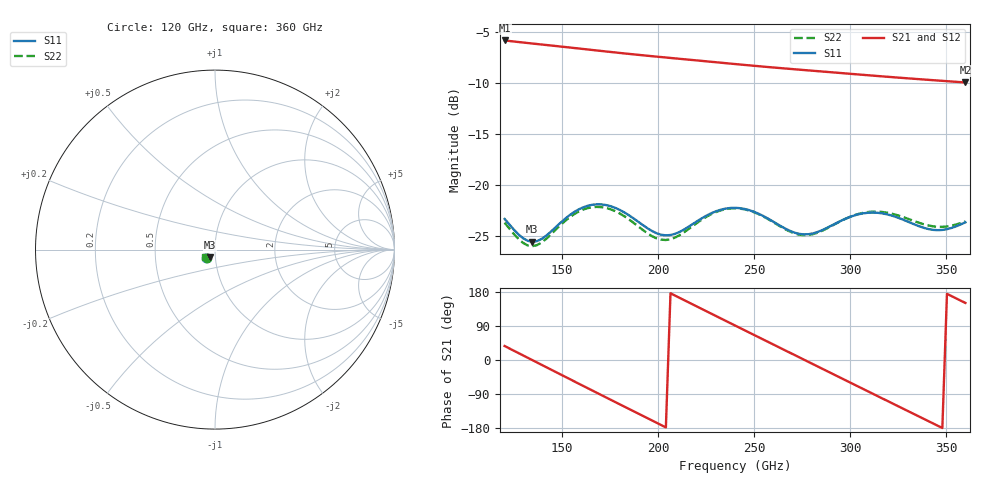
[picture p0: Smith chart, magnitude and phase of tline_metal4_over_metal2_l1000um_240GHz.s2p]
#  GHZ S DB R 50
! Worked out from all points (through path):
!   101 points, 120 GHz to 360 GHz, reference 50 ohm
!   highest |S21| = -5.86 dB at 120 GHz (marker M1); lowest = -10.0 dB at 360 GHz (marker M2)
!   group delay of S21, straight-line fit = 7.01 ps
!   lowest |S11| = -25.5 dB at 134.4 GHz (marker M3), VSWR 1.11, Z = 46.9 - j4.07 ohm
!   |S11| at or under -10 dB: start of sweep to end of sweep
!   |S22| runs from -26.0 to -22.1 dB; largest |S21 - S12| = 5.9e-14
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120  -23.29 -135.8  -5.86 36.9  -5.86 36.9  -23.66 -135.6
134.4  -25.53 -125.1  -6.15 -0.2  -6.15 -0.2  -25.95 -123.3
146.4  -24.14 -114.8  -6.39 -31.1  -6.39 -31.1  -24.39 -113.0
160.8  -22.17 -122.1  -6.69 -68.0  -6.69 -68.0  -22.39 -121.1
170.4  -21.87 -131.4  -6.88 -92.5  -6.88 -92.5  -22.14 -130.8
180  -22.41 -139.8  -7.08 -117.0  -7.08 -117.0  -22.76 -139.4
192  -23.89 -143.7  -7.31 -147.5  -7.31 -147.5  -24.37 -142.7
201.6  -24.84 -138.8  -7.48 -171.8  -7.48 -171.8  -25.32 -136.6
211.2  -24.56 -131.4  -7.65 163.9  -7.65 163.9  -24.87 -128.5
223.2  -23.18 -130.2  -7.86 133.5  -7.86 133.5  -23.30 -127.7
240  -22.21 -140.6  -8.16 91.1  -8.16 91.1  -22.25 -139.2
249.6  -22.57 -147.3  -8.33 66.9  -8.33 66.9  -22.61 -146.3
261.6  -23.75 -150.9  -8.52 36.8  -8.52 36.8  -23.80 -150.3
271.2  -24.64 -147.6  -8.67 12.7  -8.67 12.7  -24.72 -147.1
280.8  -24.70 -141.0  -8.82 -11.4  -8.82 -11.4  -24.77 -140.4
290.4  -23.93 -137.4  -8.97 -35.5  -8.97 -35.5  -23.97 -136.8
302.4  -22.94 -139.9  -9.15 -65.6  -9.15 -65.6  -22.91 -139.4
312  -22.67 -144.8  -9.30 -89.6  -9.30 -89.6  -22.58 -144.5
321.6  -22.96 -149.3  -9.44 -113.6  -9.44 -113.6  -22.78 -149.4
340.8  -24.28 -148.2  -9.70 -161.5  -9.70 -161.5  -23.93 -150.5
350.4  -24.29 -142.9  -9.83 174.5  -9.83 174.5  -24.02 -146.8
360  -23.62 -139.5  -9.96 150.6  -9.96 150.6  -23.54 -144.3
